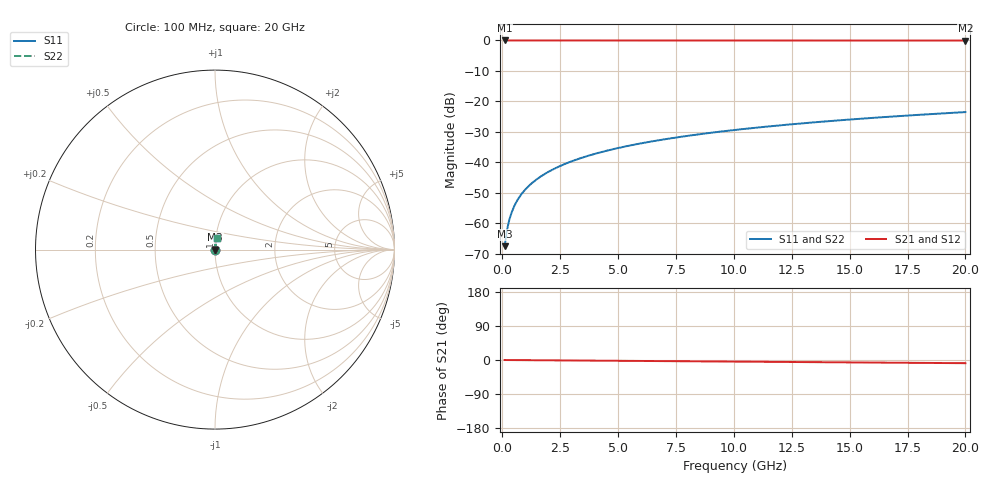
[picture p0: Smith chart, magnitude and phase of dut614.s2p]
! Touchstone file exported from HFSS 2026.1.0
!  File:  C:/ffzhzh/LocalFiles/Ansys_Project_Files/temp_train_TSV_614_1783025734_51716.aedt
!  Generated:  04:57:41 AM Jul  3, 2026
!  Design:  TSV
!  Project:  temp_train_TSV_614_1783025734_51716
! Variables:
!  h_bsmrdl = 2um
!  h_ox = 20um
!  h_rdl = 5um
!  h_sub = 68.79um
!  h_tmrdl = 5um
!  h_tsv = 68.79um
!  h_via = 3um
!  l_bsmrdl = 300um
!  l_sub = 413.86um
!  l_tmrdl = 200um
!  m_sub = 200um
!  pitch = 54.56um
!  r_tsv = 6.93um
!  s_tmrdl = 10um
!  w_bsmrdl = 18um
!  w_sub = 500um
!  w_tmrdl = 12um
!  x_tsv_center1 = 206um
!  x_tsv_center2 = 524um
!  x_tsv_center3 = 736um
!  x_tsv_center4 = 1054um
!  x_tsv_center5 = 1266um
!  x_tsv_center6 = 1584um
# GHz S MA R 50.000000
! Terminal data exported
! Port[1] = TSV1_1_T1
! Port[2] = TSV1_1_T2
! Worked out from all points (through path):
!   200 points, 100 MHz to 20 GHz, reference 50 ohm
!   highest |S21| = 0.00 dB at 100 MHz (marker M1); lowest = 0.0 dB at 20 GHz (marker M2)
!   group delay of S21, straight-line fit = 1.17 ps
!   lowest |S11| = -67.5 dB at 100 MHz (marker M3), VSWR 1.00, Z = 50 + j0.0374 ohm
!   |S11| at or under -10 dB: start of sweep to end of sweep
!   |S22| runs from -67.5 to -23.5 dB; largest |S21 - S12| = 2.6e-15
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0.1  0.0004227 62.0  0.9998 -0.0  0.9998 -0.0  0.0004227 62.0
! Gamma 0 0 0 0
! Port Impedance 50 0 50 0
0.2  0.0007734 74.4  0.9998 -0.1  0.9998 -0.1  0.0007734 74.4
0.3  0.001136 78.7  0.9998 -0.1  0.9998 -0.1  0.001136 78.7
0.4  0.001498 80.8  0.9998 -0.2  0.9998 -0.2  0.001498 80.8
0.5  0.001857 81.9  0.9997 -0.2  0.9997 -0.2  0.001857 81.9
0.6  0.002214 82.6  0.9997 -0.3  0.9997 -0.3  0.002214 82.6
0.7  0.002567 83.1  0.9997 -0.3  0.9997 -0.3  0.002567 83.1
0.8  0.002917 83.5  0.9997 -0.3  0.9997 -0.3  0.002917 83.5
1  0.003612 84.1  0.9996 -0.4  0.9996 -0.4  0.003612 84.1
1.4  0.004986 84.8  0.9996 -0.6  0.9996 -0.6  0.004986 84.8
1.7  0.006011 85.1  0.9995 -0.7  0.9995 -0.7  0.006011 85.1
2  0.007035 85.3  0.9995 -0.9  0.9995 -0.9  0.007035 85.3
2.7  0.009419 85.6  0.9994 -1.2  0.9994 -1.2  0.009419 85.6
3.5  0.01213 85.7  0.9993 -1.5  0.9993 -1.5  0.01213 85.7
4.2  0.0145 85.6  0.9992 -1.8  0.9992 -1.8  0.0145 85.6
5  0.0172 85.5  0.9991 -2.1  0.9991 -2.1  0.0172 85.5
6.8  0.02324 85.0  0.9989 -2.9  0.9989 -2.9  0.02324 85.0
8.3  0.02825 84.6  0.9987 -3.5  0.9987 -3.5  0.02825 84.6
10.1  0.03424 84.0  0.9984 -4.3  0.9984 -4.3  0.03424 84.0
13.4  0.04518 82.9  0.9978 -5.7  0.9978 -5.7  0.04518 82.9
16.7  0.05605 81.6  0.9971 -7.0  0.9971 -7.0  0.05605 81.6
20  0.06684 80.4  0.9963 -8.4  0.9963 -8.4  0.06684 80.4
